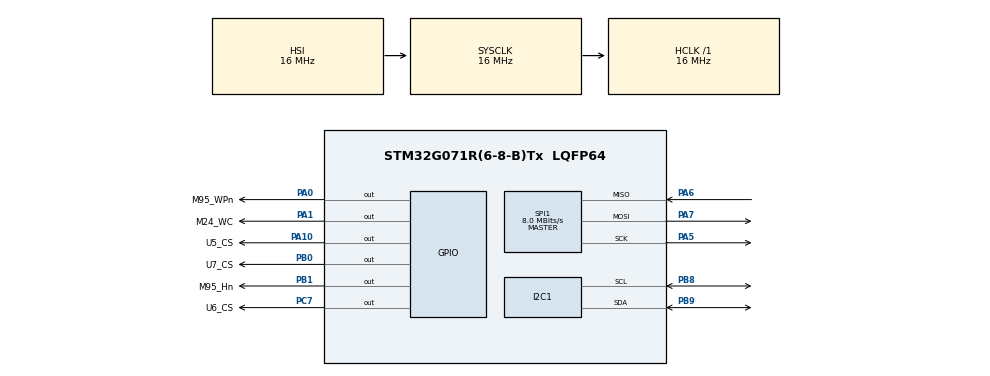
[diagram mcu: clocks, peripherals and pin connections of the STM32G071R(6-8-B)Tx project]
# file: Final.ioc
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I2C1.Timing=0x00503D58
Mcu.Family=STM32G0
Mcu.Name=STM32G071R(6-8-B)Tx
Mcu.Package=LQFP64
PA0.GPIO_Label=M95_WPn
PA0.Signal=GPIO_Output
PA1.GPIO_Label=M24_WC
PA1.Signal=GPIO_Output
PA10.GPIO_Label=U5_CS
PA10.Signal=GPIO_Output
PA13.Mode=Serial_Wire
PA13.Signal=SYS_SWDIO
PA14-BOOT0.Mode=Serial_Wire
PA14-BOOT0.Signal=SYS_SWCLK
PA5.Mode=Full_Duplex_Master
PA5.Signal=SPI1_SCK
PA6.Mode=Full_Duplex_Master
PA6.Signal=SPI1_MISO
PA7.Mode=Full_Duplex_Master
PA7.Signal=SPI1_MOSI
PB0.GPIO_Label=U7_CS
PB0.Signal=GPIO_Output
PB1.GPIO_Label=M95_Hn
PB1.Signal=GPIO_Output
PB8.Mode=I2C
PB8.Signal=I2C1_SCL
PB9.Mode=I2C
PB9.Signal=I2C1_SDA
PC7.GPIO_Label=U6_CS
PC7.Signal=GPIO_Output
ProjectManager.HeapSize=0x200
ProjectManager.StackSize=0x400
ProjectManager.TargetToolchain=STM32CubeIDE
RCC.AHBFreq_Value=16000000
RCC.CortexFreq_Value=16000000
RCC.EXTERNAL_CLOCK_VALUE=48000
RCC.HCLKFreq_Value=16000000
RCC.HSE_VALUE=8000000
RCC.HSI_VALUE=16000000
RCC.LSE_VALUE=32768
RCC.SYSCLKFreq_VALUE=16000000
RCC.VCOOutputFreq_Value=128000000
SPI1.CalculateBaudRate=8.0 MBits/s
SPI1.DataSize=SPI_DATASIZE_8BIT
SPI1.Direction=SPI_DIRECTION_2LINES
SPI1.Mode=SPI_MODE_MASTER
SPI1.VirtualType=VM_MASTER
board=custom

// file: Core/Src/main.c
/* USER CODE BEGIN Header */
/**
  ******************************************************************************
  * @file           : main.c
  * @brief          : Main program body
  ******************************************************************************
  * @attention
  *
  * Copyright (c) 2024 STMicroelectronics.
  * All rights reserved.
  *
  * This software is licensed under terms that can be found in the LICENSE file
  * in the root directory of this software component.
  * If no LICENSE file comes with this software, it is provided AS-IS.
  *
  ******************************************************************************
  */
/* USER CODE END Header */
#include "main.h"
#include "i2c.h"
#include "spi.h"
#include "gpio.h"
#include "memoryAcc.h"
#include "M95.h"

/* USER CODE BEGIN PV */

	uint8_t ReadValue =0;
	uint8_t TxData[] = { 'A', 'B', 'C', 'D', 'E', 'F' };
	uint32_t startAddresses[] = {
	        M95C04_START, M95256_START, M95M04_START,
	        M24C02_START, M24256_START, M24M01_START
	    };
	    uint32_t endAddresses[] = {
	        M95C04_END, M95256_END, M95M04_END,
	        M24C02_END, M24256_END, M24M01_END
	    };
	    uint8_t SPIDevices[] = { M95040, M95256, M95M04 };
	    uint8_t StatusRegisterValue;

/* USER CODE END PV */

void SystemClock_Config(void);

int main(void)
{

  /* MCU Configuration--------------------------------------------------------*/

  /* Reset of all peripherals, Initializes the Flash interface and the Systick. */
  HAL_Init();

  /* Configure the system clock */
  SystemClock_Config();

  /* Initialize all configured peripherals */
  MX_GPIO_Init();
  MX_SPI1_Init();
  MX_I2C1_Init();
  /* USER CODE BEGIN 2 */
  DisableChipSelectM95(M95040);
   DisableChipSelectM95(M95256);
   DisableChipSelectM95(M95M04);

   // Disable write protect and hold
   DisableWriteProtectM95();
   DisableHoldM95();

   // Turn off block protection for all SPI devices

   for (int i = 0; i < 3; i++) {
       StatusRegisterValue = ReadStatusRegisterM95(SPIDevices[i]);
       StatusRegisterValue = StatusRegisterValue & ~(0x0C); // Clear BP1, BP0 bits
       WriteStatusRegisterM95(SPIDevices[i], StatusRegisterValue);
       HAL_Delay(1); // Ensure the write operation is completed
   }

  /* USER CODE END 2 */

  /* Infinite loop */
  /* USER CODE BEGIN WHILE */
   while (1) {
       for (int i = 0; i < 6; i++) {
    	   uint32_t startAddress = startAddresses[i];
    	   uint32_t endAddress = endAddresses[i];
    	   uint8_t writeData = TxData[i];
    	   uint8_t deviceType = SPIDevices[i];

       WriteByte(startAddress, writeData);
       if(deviceType<3){
       // Check WIP bit in status register
       do {
           StatusRegisterValue = ReadStatusRegisterM95(SPIDevices[i]);
       } while (StatusRegisterValue & 0x01); // Wait until WIP is cleared
       }
      ReadValue = ReadByte(startAddress);

       if (writeData == ReadValue) {
       	 HAL_Delay(1);
       }

       WriteByte(endAddress, writeData);
       if(deviceType<3){
       // Check WIP bit in status register
       do {
           StatusRegisterValue = ReadStatusRegisterM95(SPIDevices[i]);
       } while (StatusRegisterValue & 0x01); // Wait until WIP is cleared
       }
      ReadValue = ReadByte(startAddress);

       if (writeData == ReadValue) {
       	 HAL_Delay(1);
       }
       }

       HAL_Delay(1000); // Delay between tests for observation
   }

}

void SystemClock_Config(void)
{
  RCC_OscInitTypeDef RCC_OscInitStruct = {0};
  RCC_ClkInitTypeDef RCC_ClkInitStruct = {0};

  /** Configure the main internal regulator output voltage
  */
  HAL_PWREx_ControlVoltageScaling(PWR_REGULATOR_VOLTAGE_SCALE1);

  /** Initializes the RCC Oscillators according to the specified parameters
  * in the RCC_OscInitTypeDef structure.
  */
  RCC_OscInitStruct.OscillatorType = RCC_OSCILLATORTYPE_HSI;
  RCC_OscInitStruct.HSIState = RCC_HSI_ON;
  RCC_OscInitStruct.HSIDiv = RCC_HSI_DIV1;
  RCC_OscInitStruct.HSICalibrationValue = RCC_HSICALIBRATION_DEFAULT;
  RCC_OscInitStruct.PLL.PLLState = RCC_PLL_NONE;
  if (HAL_RCC_OscConfig(&RCC_OscInitStruct) != HAL_OK)
  {
    Error_Handler();
  }

  /** Initializes the CPU, AHB and APB buses clocks
  */
  RCC_ClkInitStruct.ClockType = RCC_CLOCKTYPE_HCLK|RCC_CLOCKTYPE_SYSCLK
                              |RCC_CLOCKTYPE_PCLK1;
  RCC_ClkInitStruct.SYSCLKSource = RCC_SYSCLKSOURCE_HSI;
  RCC_ClkInitStruct.AHBCLKDivider = RCC_SYSCLK_DIV1;
  RCC_ClkInitStruct.APB1CLKDivider = RCC_HCLK_DIV1;

  if (HAL_RCC_ClockConfig(&RCC_ClkInitStruct, FLASH_LATENCY_0) != HAL_OK)
  {
    Error_Handler();
  }
}

void Error_Handler(void)
{
  __disable_irq();
  while (1)
  {
  }
}
